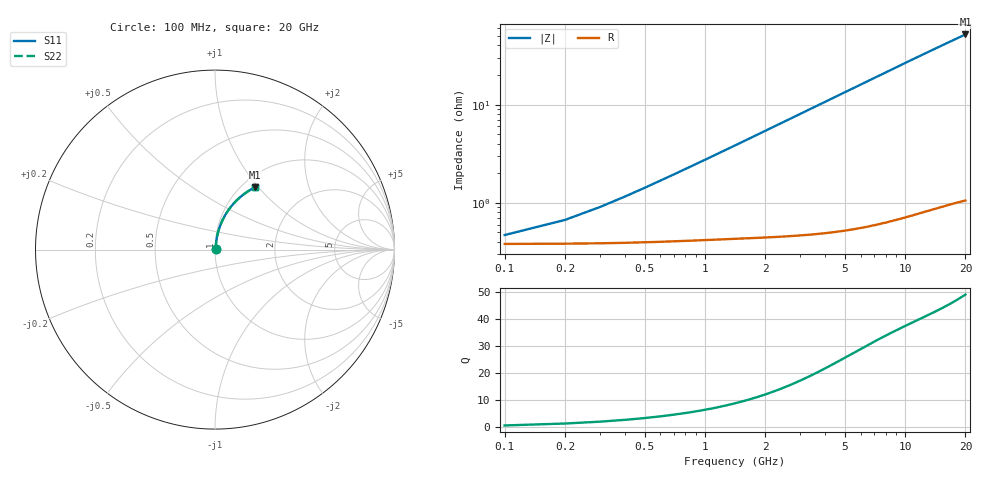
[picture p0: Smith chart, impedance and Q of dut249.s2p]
! Touchstone file exported from HFSS 2026.1.0
!  File:  C:/ffzhzh/LocalFiles/Ansys_Project_Files/temp_train_TMRDL_249_1782984808_6248.aedt
!  Generated:  05:34:44 PM Jul  2, 2026
!  Design:  TMRDL
!  Project:  temp_train_TMRDL_249_1782984808_6248
! Variables:
!  h_bsmrdl = 2um
!  h_ox = 20um
!  h_rdl = 5um
!  h_sub = 80um
!  h_tmrdl = 2.99um
!  h_tsv = 80um
!  h_via = 3um
!  l_bsmrdl = 300um
!  l_sub = 722.86um
!  l_tmrdl = 322.86um
!  m_sub = 200um
!  pitch = 59.04um
!  r_tsv = 6um
!  s_tmrdl = 10um
!  w_bsmrdl = 18um
!  w_sub = 500um
!  w_tmrdl = 10.34um
!  x_tsv_center1 = 328.03um
!  x_tsv_center2 = 646.03um
!  x_tsv_center3 = 979.23um
!  x_tsv_center4 = 1297.23um
!  x_tsv_center5 = 1630.43um
!  x_tsv_center6 = 1948.43um
# GHz S MA R 50.000000
! Terminal data exported
! Port[1] = TM_RDL1_1_T1
! Port[2] = TM_RDL1_1_T2
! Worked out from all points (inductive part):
!   200 points, 100 MHz to 20 GHz, reference 50 ohm
!   read as one part in series: L = 433 pH near 500 MHz
!   highest Q = 48.9 at 20 GHz (marker M1), where L = 412 pH
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0.1  0.004519 32.4  0.9962 -0.2  0.9962 -0.2  0.004519 32.4
! Gamma 0 0 0 0
! Port Impedance 50 0 50 0
0.2  0.00619 51.4  0.9962 -0.3  0.9962 -0.3  0.00619 51.4
0.3  0.008243 61.5  0.9961 -0.5  0.9961 -0.5  0.008243 61.5
0.4  0.01045 67.3  0.996 -0.7  0.996 -0.7  0.01045 67.3
0.5  0.01271 71.0  0.996 -0.9  0.996 -0.9  0.01271 71.0
0.6  0.01501 73.5  0.9959 -1.0  0.9959 -1.0  0.01501 73.5
0.8  0.01965 76.6  0.9957 -1.4  0.9957 -1.4  0.01965 76.6
1.1  0.02663 79.0  0.9955 -1.9  0.9955 -1.9  0.02663 79.0
1.5  0.03597 80.6  0.9951 -2.6  0.9951 -2.6  0.03597 80.6
1.8  0.04298 81.1  0.9947 -3.1  0.9947 -3.1  0.04298 81.1
2.1  0.05 81.3  0.9943 -3.6  0.9943 -3.6  0.05 81.3
2.7  0.06401 81.3  0.9934 -4.6  0.9934 -4.6  0.06401 81.3
3.5  0.08263 80.8  0.9918 -6.0  0.9918 -6.0  0.08263 80.8
4.2  0.09883 80.0  0.9902 -7.1  0.9902 -7.1  0.09883 80.0
5  0.1172 79.0  0.988 -8.5  0.988 -8.5  0.1172 79.0
5.9  0.1377 77.8  0.9851 -10.0  0.9851 -10.0  0.1377 77.8
6.8  0.1578 76.5  0.9817 -11.5  0.9817 -11.5  0.1578 76.5
8.3  0.1908 74.2  0.9754 -13.9  0.9754 -13.9  0.1908 74.2
10.1  0.2292 71.5  0.9665 -16.8  0.9665 -16.8  0.2292 71.5
13.4  0.2957 66.6  0.9473 -21.9  0.9473 -21.9  0.2957 66.6
16.7  0.3569 61.8  0.9253 -26.8  0.9253 -26.8  0.3569 61.8
20  0.4124 57.3  0.9014 -31.4  0.9014 -31.4  0.4124 57.3
